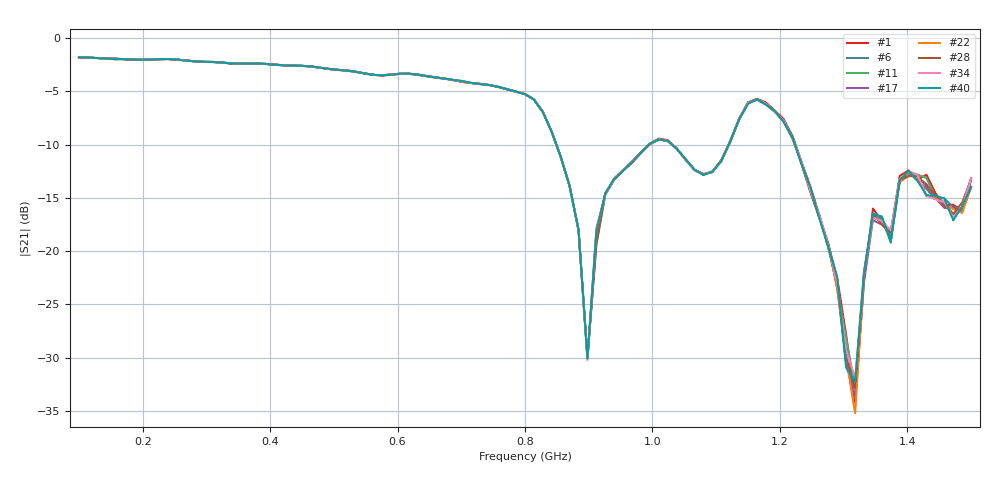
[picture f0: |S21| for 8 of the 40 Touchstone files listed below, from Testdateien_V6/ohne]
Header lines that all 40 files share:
! NanoVNA-App
! Start: 100MHz Stop: 1,5GHz Points: 101
! S-Parameter data: F S11 S21 S12 S22
# Hz S RI R 50
!  Frequency  S11_Real  S11_Imag  S21_Real  S21_Imag  S12_Real  S12_Imag  S22_Real  S22_Imag
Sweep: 100 MHz to 1.5 GHz
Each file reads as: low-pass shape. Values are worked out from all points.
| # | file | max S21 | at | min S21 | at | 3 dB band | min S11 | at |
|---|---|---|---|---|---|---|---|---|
| 1 | ohne (1).s2p | -1.80 dB | 100 MHz | -34.3 dB | 1.318 GHz | 100 MHz-758 MHz | -39.4 dB | 716 MHz |
| 2 | ohne (22).s2p | -1.79 dB | 100 MHz | -33.7 dB | 1.318 GHz | 100 MHz-758 MHz | -39.9 dB | 716 MHz |
| 3 | ohne (23).s2p | -1.79 dB | 100 MHz | -33.4 dB | 1.318 GHz | 100 MHz-758 MHz | -39.9 dB | 716 MHz |
| 4 | ohne (24).s2p | -1.79 dB | 100 MHz | -33.4 dB | 1.318 GHz | 100 MHz-772 MHz | -40.0 dB | 716 MHz |
| 5 | ohne (25).s2p | -1.79 dB | 100 MHz | -33.1 dB | 1.318 GHz | 100 MHz-758 MHz | -39.4 dB | 716 MHz |
| 6 | ohne (26).s2p | -1.79 dB | 100 MHz | -32.7 dB | 1.318 GHz | 100 MHz-758 MHz | -39.2 dB | 128 MHz |
| 7 | ohne (27).s2p | -1.79 dB | 100 MHz | -31.8 dB | 1.318 GHz | 100 MHz-758 MHz | -39.9 dB | 716 MHz |
| 8 | ohne (28).s2p | -1.79 dB | 100 MHz | -35.2 dB | 1.318 GHz | 100 MHz-758 MHz | -39.3 dB | 128 MHz |
| 9 | ohne (29).s2p | -1.79 dB | 100 MHz | -33.2 dB | 1.318 GHz | 100 MHz-758 MHz | -39.4 dB | 716 MHz |
| 10 | ohne (30).s2p | -1.79 dB | 100 MHz | -31.9 dB | 1.318 GHz | 100 MHz-758 MHz | -39.6 dB | 716 MHz |
| 11 | ohne (31).s2p | -1.79 dB | 100 MHz | -32.8 dB | 1.318 GHz | 100 MHz-758 MHz | -40.1 dB | 716 MHz |
| 12 | ohne (32).s2p | -1.79 dB | 100 MHz | -36.9 dB | 1.318 GHz | 100 MHz-758 MHz | -39.3 dB | 128 MHz |
| 13 | ohne (33).s2p | -1.79 dB | 100 MHz | -33.9 dB | 1.318 GHz | 100 MHz-758 MHz | -39.3 dB | 128 MHz |
| 14 | ohne (34).s2p | -1.79 dB | 100 MHz | -34.6 dB | 1.318 GHz | 100 MHz-758 MHz | -39.3 dB | 128 MHz |
| 15 | ohne (35).s2p | -1.79 dB | 100 MHz | -32.4 dB | 1.318 GHz | 100 MHz-758 MHz | -39.7 dB | 716 MHz |
| 16 | ohne (36).s2p | -1.79 dB | 100 MHz | -33.1 dB | 1.318 GHz | 100 MHz-758 MHz | -39.5 dB | 716 MHz |
| 17 | ohne (37).s2p | -1.79 dB | 100 MHz | -33.8 dB | 1.318 GHz | 100 MHz-772 MHz | -39.4 dB | 716 MHz |
| 18 | ohne (38).s2p | -1.79 dB | 100 MHz | -31.4 dB | 1.318 GHz | 100 MHz-758 MHz | -39.3 dB | 128 MHz |
| 19 | ohne (39).s2p | -1.79 dB | 100 MHz | -35.0 dB | 1.318 GHz | 100 MHz-758 MHz | -39.2 dB | 128 MHz |
| 20 | ohne (40).s2p | -1.79 dB | 100 MHz | -32.3 dB | 1.318 GHz | 100 MHz-758 MHz | -39.8 dB | 716 MHz |
| 21 | ohne (41).s2p | -1.79 dB | 100 MHz | -36.3 dB | 1.318 GHz | 100 MHz-772 MHz | -39.9 dB | 716 MHz |
| 22 | ohne (42).s2p | -1.79 dB | 100 MHz | -35.2 dB | 1.318 GHz | 100 MHz-758 MHz | -39.7 dB | 716 MHz |
| 23 | ohne (43).s2p | -1.79 dB | 100 MHz | -33.6 dB | 1.318 GHz | 100 MHz-758 MHz | -39.2 dB | 128 MHz |
| 24 | ohne (44).s2p | -1.79 dB | 100 MHz | -34.8 dB | 1.318 GHz | 100 MHz-772 MHz | -40.0 dB | 716 MHz |
| 25 | ohne (45).s2p | -1.79 dB | 100 MHz | -34.0 dB | 1.318 GHz | 100 MHz-772 MHz | -39.6 dB | 716 MHz |
| 26 | ohne (46).s2p | -1.79 dB | 100 MHz | -35.6 dB | 1.318 GHz | 100 MHz-758 MHz | -39.3 dB | 128 MHz |
| 27 | ohne (47).s2p | -1.79 dB | 100 MHz | -34.8 dB | 1.318 GHz | 100 MHz-772 MHz | -39.2 dB | 128 MHz |
| 28 | ohne (48).s2p | -1.79 dB | 100 MHz | -32.9 dB | 1.318 GHz | 100 MHz-772 MHz | -39.2 dB | 128 MHz |
| 29 | ohne (49).s2p | -1.79 dB | 100 MHz | -31.7 dB | 1.318 GHz | 100 MHz-758 MHz | -40.0 dB | 716 MHz |
| 30 | ohne (50).s2p | -1.79 dB | 100 MHz | -34.6 dB | 1.318 GHz | 100 MHz-758 MHz | -39.3 dB | 128 MHz |
| 31 | ohne (51).s2p | -1.79 dB | 100 MHz | -34.0 dB | 1.318 GHz | 100 MHz-758 MHz | -39.8 dB | 716 MHz |
| 32 | ohne (52).s2p | -1.79 dB | 100 MHz | -32.2 dB | 1.318 GHz | 100 MHz-758 MHz | -39.7 dB | 716 MHz |
| 33 | ohne (53).s2p | -1.79 dB | 100 MHz | -32.1 dB | 1.318 GHz | 100 MHz-758 MHz | -39.6 dB | 716 MHz |
| 34 | ohne (54).s2p | -1.79 dB | 100 MHz | -31.9 dB | 1.318 GHz | 100 MHz-758 MHz | -40.0 dB | 716 MHz |
| 35 | ohne (55).s2p | -1.79 dB | 100 MHz | -34.7 dB | 1.318 GHz | 100 MHz-758 MHz | -39.8 dB | 716 MHz |
| 36 | ohne (56).s2p | -1.79 dB | 100 MHz | -32.2 dB | 1.318 GHz | 100 MHz-758 MHz | -40.0 dB | 716 MHz |
| 37 | ohne (57).s2p | -1.79 dB | 100 MHz | -35.3 dB | 1.318 GHz | 100 MHz-758 MHz | -40.1 dB | 716 MHz |
| 38 | ohne (58).s2p | -1.79 dB | 100 MHz | -32.0 dB | 1.318 GHz | 100 MHz-758 MHz | -39.5 dB | 716 MHz |
| 39 | ohne (59).s2p | -1.79 dB | 100 MHz | -34.2 dB | 1.318 GHz | 100 MHz-758 MHz | -39.5 dB | 716 MHz |
| 40 | ohne (60).s2p | -1.79 dB | 100 MHz | -32.3 dB | 1.318 GHz | 100 MHz-758 MHz | -40.0 dB | 716 MHz |
